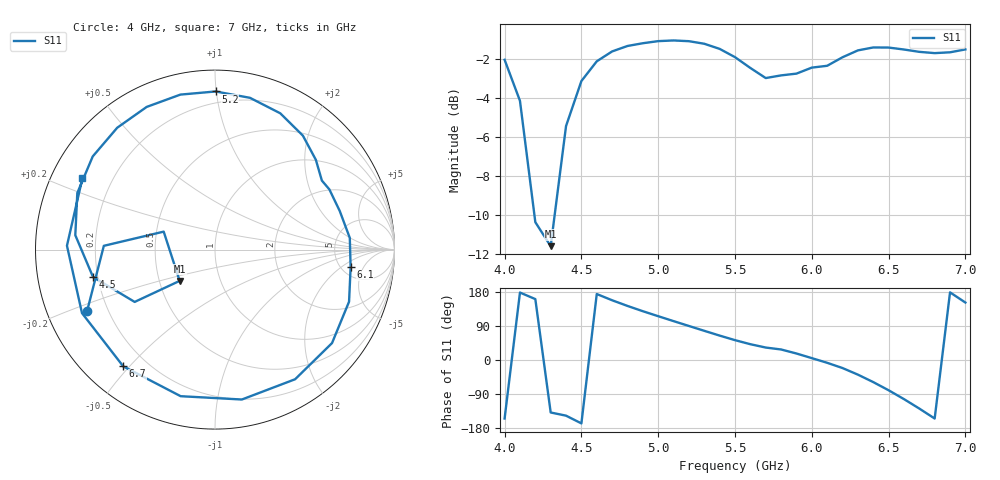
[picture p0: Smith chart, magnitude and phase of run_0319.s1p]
! Touchstone file exported from HFSS 2024.2.0
!  File:  C:/Users/wsak9/Desktop/Sim Fast/Widenad Patch/WP_AI_V1_sweep.aedt
!  Generated:  04:29:59 AM Oct 14, 2026
!  Design:  A1_model
!  Project:  WP_AI_V1_sweep
!  Setup:  Setup1
!  Solution:  Sweep
! Variables:
!  Air_gap = 1.52mm
!  Curve_Amp1 = 1.78
!  Curve_len1 = 1
!  Curve_pos = 12.4mm
!  Extra = 4.74mm
!  H_sub = 0.79mm
!  L_Patch = 20.8mm
!  L_Patch1 = 18.3mm
!  Sx = 0.74mm
!  Sy = 1.94mm
!  WS = 0.84mm
!  W_Patch = 17.23mm
!  W_Patch1 = 13.56mm
!Data is not renormalized
# GHz S MA
! Terminal data exported
! Port[1] = 1
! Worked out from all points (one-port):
!   31 points, 4 GHz to 7 GHz, reference per port
!   lowest |S11| = -11.6 dB at 4.3 GHz (marker M1), VSWR 1.71
!   |S11| at or under -10 dB: 4.194 GHz to 4.326 GHz (132.1 MHz wide, 3.1 % of centre)
!   S11 on the Smith chart (normalised r, x): 4 GHz: 0.12, -0.22; 4.5 GHz: 0.18, -0.11; 5.2 GHz: 0.13, +1.00; 6.1 GHz: 6.05, -2.83; 6.7 GHz: 0.12, -0.48; 7 GHz: 0.09, +0.25
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4  0.7895 -154.4
4.1  0.6197 178.1
4.2  0.3029 160.7
4.3  0.2629 -138.5
4.4  0.5341 -146.9
4.5  0.6965 -167.3
4.6  0.7824 174.1
4.7  0.8294 157.7
4.8  0.8565 142.7
5  0.8814 115.6
5.1  0.8849 102.6
5.2  0.881 89.8
5.3  0.8678 77.0
5.5  0.8019 52.4
5.7  0.7088 32.9
5.8  0.72 27.8
5.9  0.7276 17.1
6  0.7538 4.9
6.1  0.762 -7.4
6.2  0.8013 -21.2
6.3  0.8345 -38.6
6.4  0.8491 -58.3
6.5  0.8485 -79.8
6.6  0.8388 -103.2
6.7  0.8273 -128.2
6.8  0.8211 -154.5
6.9  0.8251 178.5
7  0.8394 151.6
